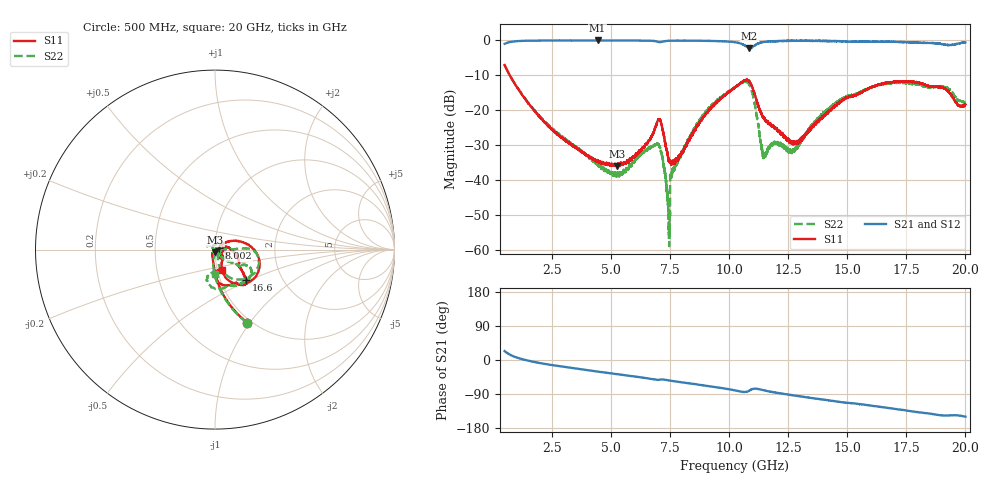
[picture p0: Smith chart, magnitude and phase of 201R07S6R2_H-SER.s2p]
!{201R07S6R2}
!Johanson Technology Inc.
!www.johansontechnology.com
!Test Board Conditions:
!Substrate Type  RO4350B
!Substrate Thickness  10 mil
!Substrate Dk  3.66
!TL Type: GCPW
!TL Trace Width  21 mil
!TL Gap  20 mil
!Electrode orientation  Horizontal
!DUT TOPOLOGY	SERIES
!Mounting Pad LxW  16x21 mil
!Agilent Technologies,N5230A,MY45001966,A.07.50.67
!Agilent N5230A: A.07.50.67
! Created Mon Mar  9 15:12:38 2020
# mhz S ma R 50
! 2 Port Network Data from SP1.SP block
! freq  magS11  angS11  magS21  angS21  magS12  angS12  magS22  angS22
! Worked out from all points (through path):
!   19501 points, 500 MHz to 20 GHz, reference 50 ohm
!   highest |S21| = -0.02 dB at 4.435 GHz (marker M1); lowest = -2.1 dB at 10.86 GHz (marker M2)
!   group delay of S21, straight-line fit = 22.2 ps
!   lowest |S11| = -35.9 dB at 5.243 GHz (marker M3), VSWR 1.03, Z = 50.2 - j1.59 ohm
!   |S11| at or under -10 dB: 720.1 MHz to end of sweep
!   |S22| runs from -58.8 to -7.0 dB; largest |S21 - S12| = 0.015
!   S11 on the Smith chart (normalised r, x): 500 MHz: 0.96, -0.97; 8.002 GHz: 1.05, +0.02; 16.6 GHz: 1.33, -0.48; 20 GHz: 1.06, -0.25
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500  0.4444 -66.1  0.8926 23.5  0.8922 23.4  0.4455 -66.2
2025  0.07773 -96.6  0.9946 -8.4  0.995 -8.4  0.07981 -97.5
3750  0.02595 -124.1  0.996 -24.7  0.9967 -24.7  0.0263 -95.6
4435  0.01927 -116.2  0.9979 -30.5  0.9958 -30.5  0.01691 -108.8
5243  0.01595 -83.6  0.9947 -37.2  0.9949 -37.2  0.01213 -168.0
6331  0.02899 -25.2  0.9931 -46.4  0.9925 -46.4  0.02481 107.7
7000  0.07334 -26.7  0.9515 -52.4  0.9514 -52.4  0.03279 -1.8
7235  0.04413 -62.3  0.9711 -51.7  0.9711 -51.7  0.01537 -120.8
7403  0.02326 -49.1  0.9842 -53.4  0.9853 -53.5  0.005685 -176.7
7598  0.01721 -0.8  0.9891 -55.3  0.9899 -55.4  0.01358 37.1
8002  0.02517 23.2  0.9912 -58.9  0.9921 -58.9  0.02515 17.0
8955  0.08244 31.2  0.9863 -67.2  0.9856 -67.2  0.08796 0.9
10250  0.2125 1.2  0.9403 -80.3  0.94 -80.2  0.2151 -1.8
10862  0.2589 -46.3  0.7825 -80.6  0.7882 -80.5  0.232 -45.6
11491  0.07692 -57.9  0.9526 -80.3  0.9518 -80.1  0.02228 -18.2
11965  0.0559 -43.5  0.9771 -85.9  0.9786 -86.0  0.03406 32.0
12747  0.03395 -11.5  0.9848 -93.5  0.9848 -93.6  0.02673 -16.0
13500  0.05754 15.6  0.9875 -100.5  0.9833 -100.5  0.06038 -47.5
16597  0.245 -44.3  0.9562 -125.5  0.9501 -125.3  0.2388 -31.4
16750  0.2501 -44.6  0.9587 -126.5  0.9485 -126.8  0.2443 -33.4
18993  0.2114 -70.0  0.8851 -146.0  0.8872 -145.8  0.2221 -83.4
20000  0.1221 -70.3  0.9356 -149.4  0.937 -149.3  0.1363 -89.6
